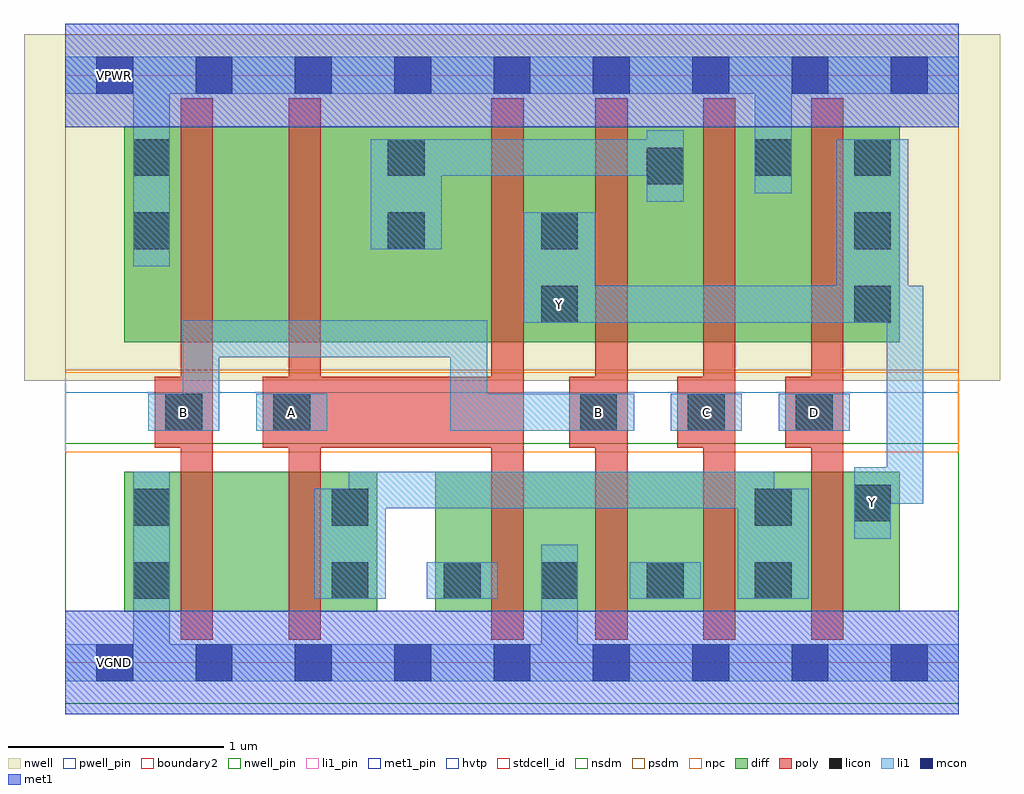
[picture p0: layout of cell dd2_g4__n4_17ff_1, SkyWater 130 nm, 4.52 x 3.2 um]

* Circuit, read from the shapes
.subckt dd2_g4__n4_17ff_1 A B C D VGND VNB VPB VPWR Y
XM1 n1 B VGND VNB sky130_fd_pr__nfet_01v8 w=0.65 l=0.15
XM2 n2 A n1 VNB sky130_fd_pr__nfet_01v8 w=0.65 l=0.15
XM3 VGND A n3 VNB sky130_fd_pr__nfet_01v8 w=0.65 l=0.15
XM4 n4 B VGND VNB sky130_fd_pr__nfet_01v8 w=0.65 l=0.15
XM5 n2 C n4 VNB sky130_fd_pr__nfet_01v8 w=0.65 l=0.15
XM6 Y D n2 VNB sky130_fd_pr__nfet_01v8 w=0.65 l=0.15
XM7 n5 B VPWR VPB sky130_fd_pr__pfet_01v8_hvt w=1 l=0.15
XM8 n6 A n5 VPB sky130_fd_pr__pfet_01v8_hvt w=1 l=0.15
XM9 Y A n6 VPB sky130_fd_pr__pfet_01v8_hvt w=1 l=0.15
XM10 n6 B Y VPB sky130_fd_pr__pfet_01v8_hvt w=1 l=0.15
XM11 VPWR C n6 VPB sky130_fd_pr__pfet_01v8_hvt w=1 l=0.15
XM12 Y D VPWR VPB sky130_fd_pr__pfet_01v8_hvt w=1 l=0.15
.ends

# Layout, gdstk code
import gdstk
lib = gdstk.Library(unit=1e-6, precision=1e-09)
def R(c, l, rs):  # rectangles x0, y0, x1, y1
    for r in rs: c.add(gdstk.rectangle(r[:2], r[2:], *l))
def A(c, l, x, y, w, h, nx, ny, dx, dy):  # array of equal rectangles
    R(c, l, [(x+i*dx, y+j*dy, x+i*dx+w, y+j*dy+h) for i in range(nx) for j in range(ny)])
nwell_pin = (64, 16)
nwell = (64, 20)
diff = (65, 20)
poly = (66, 20)
licon = (66, 44)
li1_pin = (67, 16)
li1 = (67, 20)
mcon = (67, 44)
met1_pin = (68, 16)
met1 = (68, 20)
hvtp = (78, 44)
stdcell_id = (81, 4)
nsdm = (93, 44)
psdm = (94, 20)
npc = (95, 20)
pwell_pin = (122, 16)
boundary2 = (236, 0)

dd2_g4__n4_17ff_1 = lib.new_cell('dd2_g4__n4_17ff_1')
R(dd2_g4__n4_17ff_1, nwell_pin, [(0.145,2.635,0.315,2.805)])
R(dd2_g4__n4_17ff_1, nwell, [(-0.19,1.305,4.33,2.91)])
R(dd2_g4__n4_17ff_1, diff, [(0.275,0.235,0.86,0.885), (0.86,0.235,1.445,0.885), (1.715,0.235,2.29,0.885), (2.29,0.235,2.78,0.885), (2.78,0.235,3.28,0.885), (3.28,0.235,3.865,0.885), (0.275,1.485,0.86,2.485), (0.86,1.485,1.58,2.485), (1.58,1.485,2.29,2.485), (2.29,1.485,2.78,2.485), (2.78,1.485,3.28,2.485), (3.28,1.485,3.865,2.485)])
A(dd2_g4__n4_17ff_1, poly, 2.455, 0.105, 0.15, 2.51, 3, 1, 0.5, 0)
A(dd2_g4__n4_17ff_1, poly, 2.335, 0.995, 0.27, 0.33, 3, 1, 0.5, 0)
R(dd2_g4__n4_17ff_1, poly, [(0.535,0.105,0.685,2.615), (1.035,0.105,1.185,2.615), (1.975,0.105,2.125,2.615), (0.415,0.995,0.685,1.325), (0.915,0.995,1.185,1.325), (1.035,0.995,2.125,1.325)])
A(dd2_g4__n4_17ff_1, licon, 2.385, 1.075, 0.17, 0.17, 3, 1, 0.5, 0)
A(dd2_g4__n4_17ff_1, licon, 3.655, 1.575, 0.17, 0.17, 1, 3, 0, 0.34)
R(dd2_g4__n4_17ff_1, licon, [(0.315,0.295,0.485,0.465), (1.235,0.295,1.405,0.465), (1.755,0.295,1.925,0.465), (2.205,0.295,2.375,0.465), (2.695,0.295,2.865,0.465), (3.195,0.295,3.365,0.465), (0.315,0.635,0.485,0.805), (1.235,0.635,1.405,0.805), (3.195,0.635,3.365,0.805), (3.655,0.655,3.825,0.825), (0.465,1.075,0.635,1.245), (0.965,1.075,1.135,1.245), (2.205,1.575,2.375,1.745), (0.315,1.915,0.485,2.085), (1.495,1.915,1.665,2.085), (2.205,1.915,2.375,2.085), (2.695,2.215,2.865,2.385), (0.315,2.255,0.485,2.425), (1.495,2.255,1.665,2.425), (3.195,2.255,3.365,2.425)])
A(dd2_g4__n4_17ff_1, li1_pin, 2.385, 1.075, 0.17, 0.17, 3, 1, 0.5, 0)
R(dd2_g4__n4_17ff_1, li1_pin, [(3.655,0.655,3.825,0.825), (0.465,1.075,0.635,1.245), (0.965,1.075,1.135,1.245), (2.205,1.575,2.375,1.745)])
A(dd2_g4__n4_17ff_1, li1, 2.305, 1.075, 0.33, 0.17, 3, 1, 0.5, 0)
R(dd2_g4__n4_17ff_1, li1, [(0,-0.085,4.14,0.085), (0.315,-0.085,0.485,0.545), (2.205,-0.085,2.375,0.545), (0.315,0.295,0.485,0.885), (1.155,0.295,1.485,0.465), (1.155,0.295,1.485,0.805), (1.315,0.295,1.485,0.885), (1.675,0.295,2.005,0.465), (2.615,0.295,2.945,0.465), (3.115,0.295,3.445,0.465), (3.115,0.295,3.285,0.885), (3.115,0.295,3.445,0.805), (3.655,0.575,3.825,0.905), (1.315,0.715,3.285,0.885), (3.655,0.735,3.975,0.905), (3.805,0.735,3.975,1.745), (0.385,1.075,0.715,1.245), (0.545,1.075,0.715,1.585), (0.885,1.075,1.215,1.245), (1.785,1.075,1.955,1.585), (1.785,1.075,2.475,1.245), (0.545,1.415,1.955,1.585), (2.125,1.575,2.455,1.745), (2.125,1.575,2.455,2.085), (2.285,1.575,3.745,1.745), (3.575,1.575,3.905,1.745), (3.575,1.575,3.905,2.085), (3.735,1.575,3.975,1.745), (3.745,1.575,3.805,1.745), (3.745,1.575,3.805,1.745), (3.745,1.575,3.805,1.745), (3.745,1.575,3.805,1.745), (0.315,1.835,0.485,2.425), (1.415,1.915,1.745,2.425), (3.575,1.915,3.905,2.425), (2.695,2.135,2.865,2.465), (0.315,2.175,0.485,2.805), (3.195,2.175,3.365,2.805), (1.415,2.255,1.745,2.425), (1.575,2.255,2.865,2.425), (0,2.635,4.14,2.805)])
A(dd2_g4__n4_17ff_1, mcon, 0.145, -0.085, 0.17, 0.17, 9, 2, 0.46, 2.72)
R(dd2_g4__n4_17ff_1, met1_pin, [(0.145,-0.085,0.315,0.085), (0.145,2.635,0.315,2.805)])
R(dd2_g4__n4_17ff_1, met1, [(0,-0.24,4.14,0.24), (0,2.48,4.14,2.96)])
R(dd2_g4__n4_17ff_1, hvtp, [(0,1.25,4.14,2.72)])
R(dd2_g4__n4_17ff_1, stdcell_id, [(0,0,4.14,2.72)])
R(dd2_g4__n4_17ff_1, nsdm, [(0,-0.19,4.14,1.015)])
R(dd2_g4__n4_17ff_1, psdm, [(0,1.355,4.14,2.91)])
R(dd2_g4__n4_17ff_1, npc, [(0,0.975,4.14,1.345)])
R(dd2_g4__n4_17ff_1, pwell_pin, [(0.145,-0.085,0.315,0.085)])
R(dd2_g4__n4_17ff_1, boundary2, [(0,0,4.14,2.72)])
dd2_g4__n4_17ff_1.add(gdstk.Label('A', (1.05,1.16), layer=67, texttype=5))
dd2_g4__n4_17ff_1.add(gdstk.Label('B', (0.55,1.16), layer=67, texttype=5))
dd2_g4__n4_17ff_1.add(gdstk.Label('B', (2.47,1.16), layer=67, texttype=5))
dd2_g4__n4_17ff_1.add(gdstk.Label('C', (2.97,1.16), layer=67, texttype=5))
dd2_g4__n4_17ff_1.add(gdstk.Label('D', (3.47,1.16), layer=67, texttype=5))
dd2_g4__n4_17ff_1.add(gdstk.Label('Y', (3.74,0.74), layer=67, texttype=5))
dd2_g4__n4_17ff_1.add(gdstk.Label('Y', (2.29,1.66), layer=67, texttype=5))
dd2_g4__n4_17ff_1.add(gdstk.Label('VGND', (0.23,0), layer=68, texttype=5))
dd2_g4__n4_17ff_1.add(gdstk.Label('VPWR', (0.23,2.72), layer=68, texttype=5))
dd2_g4__n4_17ff_1.add(gdstk.Label('VPB', (0.23,2.72), layer=64, texttype=5))
dd2_g4__n4_17ff_1.add(gdstk.Label('VNB', (0.23,0), layer=64, texttype=59))

lib.write_gds('dd2_g4__n4_17ff_1.gds')
